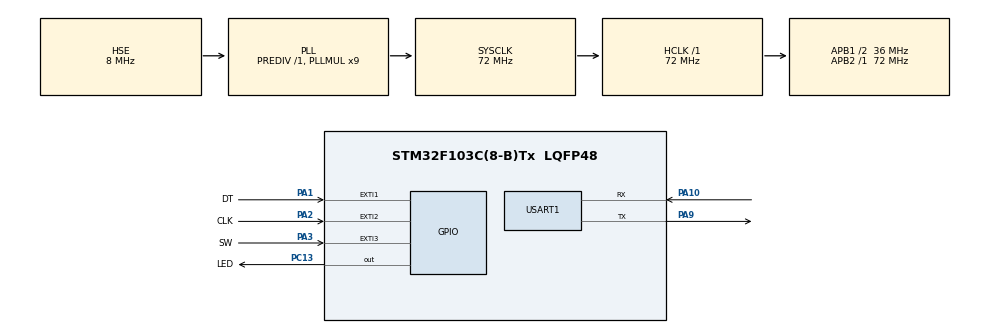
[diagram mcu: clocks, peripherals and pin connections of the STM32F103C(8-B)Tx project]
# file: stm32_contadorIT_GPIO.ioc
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Mcu.Family=STM32F1
Mcu.Name=STM32F103C(8-B)Tx
Mcu.Package=LQFP48
NVIC.EXTI1_IRQn=true\:0\:0\:false\:false\:true\:true\:true
NVIC.EXTI2_IRQn=true\:0\:0\:false\:false\:true\:true\:true
NVIC.EXTI3_IRQn=true\:0\:0\:false\:false\:true\:true\:true
NVIC.PriorityGroup=NVIC_PRIORITYGROUP_4
NVIC.TIM4_IRQn=true\:0\:0\:false\:false\:true\:true\:true
PA1.GPIO_Label=DT
PA1.GPIO_ModeDefaultEXTI=GPIO_MODE_IT_FALLING
PA1.Signal=GPXTI1
PA10.Mode=Asynchronous
PA10.Signal=USART1_RX
PA13.Mode=Serial_Wire
PA13.Signal=SYS_JTMS-SWDIO
PA14.Mode=Serial_Wire
PA14.Signal=SYS_JTCK-SWCLK
PA2.GPIO_Label=CLK
PA2.GPIO_ModeDefaultEXTI=GPIO_MODE_IT_FALLING
PA2.Signal=GPXTI2
PA3.GPIO_Label=SW
PA3.GPIO_ModeDefaultEXTI=GPIO_MODE_IT_FALLING
PA3.GPIO_PuPd=GPIO_NOPULL
PA3.Signal=GPXTI3
PA9.Mode=Asynchronous
PA9.Signal=USART1_TX
PC13-TAMPER-RTC.GPIO_Label=LED
PC13-TAMPER-RTC.Signal=GPIO_Output
PD0-OSC_IN.Mode=HSE-External-Oscillator
PD0-OSC_IN.Signal=RCC_OSC_IN
PD1-OSC_OUT.Mode=HSE-External-Oscillator
PD1-OSC_OUT.Signal=RCC_OSC_OUT
ProjectManager.HeapSize=0x200
ProjectManager.StackSize=0x400
ProjectManager.TargetToolchain=STM32CubeIDE
RCC.AHBFreq_Value=72000000
RCC.APB1CLKDivider=RCC_HCLK_DIV2
RCC.APB1Freq_Value=36000000
RCC.APB1TimFreq_Value=72000000
RCC.APB2Freq_Value=72000000
RCC.APB2TimFreq_Value=72000000
RCC.HCLKFreq_Value=72000000
RCC.PLLMUL=RCC_PLL_MUL9
RCC.PLLSourceVirtual=RCC_PLLSOURCE_HSE
RCC.SYSCLKFreq_VALUE=72000000
RCC.SYSCLKSource=RCC_SYSCLKSOURCE_PLLCLK
RCC.USBFreq_Value=72000000
TIM4.Period=10000-1
TIM4.Prescaler=7200-1
USART1.VirtualMode=VM_ASYNC
VP_TIM4_VS_ClockSourceINT.Mode=Internal
board=custom

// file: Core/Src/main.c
/* USER CODE BEGIN Header */
/**
  ******************************************************************************
  * @file           : main.c
  * @brief          : Main program body
  ******************************************************************************
  * @attention
  *
  * <h2><center>&copy; Copyright (c) 2021 STMicroelectronics.
  * All rights reserved.</center></h2>
  *
  * This software component is licensed by ST under BSD 3-Clause license,
  * the "License"; You may not use this file except in compliance with the
  * License. You may obtain a copy of the License at:
  *                        opensource.org/licenses/BSD-3-Clause
  *
  ******************************************************************************
  */
 //Rafitaaaaaaaaaaa
/* USER CODE END Header */
#include "main.h"

/* USER CODE BEGIN Includes */

// Incluyo la stdio.h para usar el sprintf
#include "stdio.h"

/* USER CODE END Includes */

/* USER CODE BEGIN PTD */
char buf [32];
int length_buf;
uint8_t E_sw;
//int E_dt;
//int E_clk;
uint8_t pulsos;
uint8_t print = 0;// Bandera para el sprintf

/* USER CODE END PTD */

TIM_HandleTypeDef htim4;

UART_HandleTypeDef huart1;

void SystemClock_Config(void);
static void MX_GPIO_Init(void);
static void MX_USART1_UART_Init(void);
static void MX_TIM4_Init(void);

int main(void)
{

  /* MCU Configuration--------------------------------------------------------*/

  /* Reset of all peripherals, Initializes the Flash interface and the Systick. */
  HAL_Init();

  /* Configure the system clock */
  SystemClock_Config();

  /* Initialize all configured peripherals */
  MX_GPIO_Init();
  MX_USART1_UART_Init();
  MX_TIM4_Init();

  /* USER CODE BEGIN 2 */

  // Inicio el Timer2
  HAL_TIM_Base_Start_IT(&htim4);

  /* USER CODE END 2 */

  /* Infinite loop */
  /* USER CODE BEGIN WHILE */
  while (1)
  {
	length_buf = sprintf(buf,"%u\r\n",E_sw);
	if(print == 1)
	{
		HAL_UART_Transmit(&huart1, (uint8_t *)buf, length_buf, 1000);
		print = 0;
	}
    /* USER CODE END WHILE */

  }
}

void SystemClock_Config(void)
{
  RCC_OscInitTypeDef RCC_OscInitStruct = {0};
  RCC_ClkInitTypeDef RCC_ClkInitStruct = {0};

  /** Initializes the RCC Oscillators according to the specified parameters
  * in the RCC_OscInitTypeDef structure.
  */
  RCC_OscInitStruct.OscillatorType = RCC_OSCILLATORTYPE_HSE;
  RCC_OscInitStruct.HSEState = RCC_HSE_ON;
  RCC_OscInitStruct.HSEPredivValue = RCC_HSE_PREDIV_DIV1;
  RCC_OscInitStruct.HSIState = RCC_HSI_ON;
  RCC_OscInitStruct.PLL.PLLState = RCC_PLL_ON;
  RCC_OscInitStruct.PLL.PLLSource = RCC_PLLSOURCE_HSE;
  RCC_OscInitStruct.PLL.PLLMUL = RCC_PLL_MUL9;
  if (HAL_RCC_OscConfig(&RCC_OscInitStruct) != HAL_OK)
  {
    Error_Handler();
  }
  /** Initializes the CPU, AHB and APB buses clocks
  */
  RCC_ClkInitStruct.ClockType = RCC_CLOCKTYPE_HCLK|RCC_CLOCKTYPE_SYSCLK
                              |RCC_CLOCKTYPE_PCLK1|RCC_CLOCKTYPE_PCLK2;
  RCC_ClkInitStruct.SYSCLKSource = RCC_SYSCLKSOURCE_PLLCLK;
  RCC_ClkInitStruct.AHBCLKDivider = RCC_SYSCLK_DIV1;
  RCC_ClkInitStruct.APB1CLKDivider = RCC_HCLK_DIV2;
  RCC_ClkInitStruct.APB2CLKDivider = RCC_HCLK_DIV1;

  if (HAL_RCC_ClockConfig(&RCC_ClkInitStruct, FLASH_LATENCY_2) != HAL_OK)
  {
    Error_Handler();
  }
}

static void MX_TIM4_Init(void)
{

  TIM_ClockConfigTypeDef sClockSourceConfig = {0};
  TIM_MasterConfigTypeDef sMasterConfig = {0};

  htim4.Instance = TIM4;
  htim4.Init.Prescaler = 7200-1;
  htim4.Init.CounterMode = TIM_COUNTERMODE_UP;
  htim4.Init.Period = 10000-1;
  htim4.Init.ClockDivision = TIM_CLOCKDIVISION_DIV1;
  htim4.Init.AutoReloadPreload = TIM_AUTORELOAD_PRELOAD_DISABLE;
  if (HAL_TIM_Base_Init(&htim4) != HAL_OK)
  {
    Error_Handler();
  }
  sClockSourceConfig.ClockSource = TIM_CLOCKSOURCE_INTERNAL;
  if (HAL_TIM_ConfigClockSource(&htim4, &sClockSourceConfig) != HAL_OK)
  {
    Error_Handler();
  }
  sMasterConfig.MasterOutputTrigger = TIM_TRGO_RESET;
  sMasterConfig.MasterSlaveMode = TIM_MASTERSLAVEMODE_DISABLE;
  if (HAL_TIMEx_MasterConfigSynchronization(&htim4, &sMasterConfig) != HAL_OK)
  {
    Error_Handler();
  }

}

static void MX_USART1_UART_Init(void)
{

  huart1.Instance = USART1;
  huart1.Init.BaudRate = 115200;
  huart1.Init.WordLength = UART_WORDLENGTH_8B;
  huart1.Init.StopBits = UART_STOPBITS_1;
  huart1.Init.Parity = UART_PARITY_NONE;
  huart1.Init.Mode = UART_MODE_TX_RX;
  huart1.Init.HwFlowCtl = UART_HWCONTROL_NONE;
  huart1.Init.OverSampling = UART_OVERSAMPLING_16;
  if (HAL_UART_Init(&huart1) != HAL_OK)
  {
    Error_Handler();
  }

}

static void MX_GPIO_Init(void)
{
  GPIO_InitTypeDef GPIO_InitStruct = {0};

  /* GPIO Ports Clock Enable */
  __HAL_RCC_GPIOC_CLK_ENABLE();
  __HAL_RCC_GPIOD_CLK_ENABLE();
  __HAL_RCC_GPIOA_CLK_ENABLE();

  /*Configure GPIO pin Output Level */
  HAL_GPIO_WritePin(LED_GPIO_Port, LED_Pin, GPIO_PIN_RESET);

  /*Configure GPIO pin : LED_Pin */
  GPIO_InitStruct.Pin = LED_Pin;
  GPIO_InitStruct.Mode = GPIO_MODE_OUTPUT_PP;
  GPIO_InitStruct.Pull = GPIO_NOPULL;
  GPIO_InitStruct.Speed = GPIO_SPEED_FREQ_LOW;
  HAL_GPIO_Init(LED_GPIO_Port, &GPIO_InitStruct);

  /*Configure GPIO pins : DT_Pin CLK_Pin SW_Pin */
  GPIO_InitStruct.Pin = DT_Pin|CLK_Pin|SW_Pin;
  GPIO_InitStruct.Mode = GPIO_MODE_IT_FALLING;
  GPIO_InitStruct.Pull = GPIO_NOPULL;
  HAL_GPIO_Init(GPIOA, &GPIO_InitStruct);

  /* EXTI interrupt init*/
  HAL_NVIC_SetPriority(EXTI1_IRQn, 0, 0);
  HAL_NVIC_EnableIRQ(EXTI1_IRQn);

  HAL_NVIC_SetPriority(EXTI2_IRQn, 0, 0);
  HAL_NVIC_EnableIRQ(EXTI2_IRQn);

  HAL_NVIC_SetPriority(EXTI3_IRQn, 0, 0);
  HAL_NVIC_EnableIRQ(EXTI3_IRQn);

}

/* USER CODE BEGIN 4 */

// INTERRUPCIONES:

//Callback GPIOs:
void HAL_GPIO_EXTI_Callback(uint16_t GPIO_Pin)
{
	if(GPIO_Pin == SW_Pin)
	{
		E_sw = E_sw+1;
	}
}

void HAL_TIM_PeriodElapsedCallback(TIM_HandleTypeDef *htim)
{
	if(htim == &htim4)
	{
		pulsos = E_sw; // Pulsos por segundo
		E_sw = 0; // Reseteo el contador
		HAL_GPIO_TogglePin(LED_GPIO_Port, LED_Pin);
		print=1;
	}
}

/* USER CODE END 4 */

void Error_Handler(void)
{
  __disable_irq();
  while (1)
  {
  }
}

/************************ (C) COPYRIGHT STMicroelectronics *****END OF FILE****/
